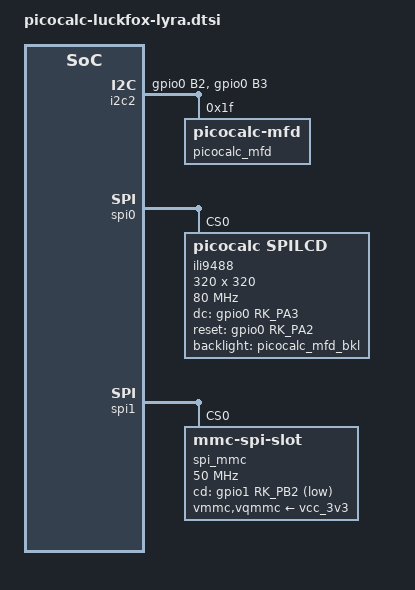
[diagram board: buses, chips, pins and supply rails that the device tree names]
// SPDX-License-Identifier: (GPL-2.0+ OR MIT)
/*
 * PicoCalc hardware device tree definitions for Luckfox Lyra board
 */

/****** Picocalc i2c Bus ******/
&pinctrl {
    rm_io11 {
        rm_io11_i2c2_sda: rm-io11-i2c2-sda {
            rockchip,pins =
                <0 RK_PB3 35 &pcfg_pull_none>;
        };
    };

    rm_io10 {
        rm_io10_i2c2_scl: rm-io10-i2c2-scl {
            rockchip,pins =
                <0 RK_PB2 34 &pcfg_pull_none>;
        };
    };

    /* M0 audio: GPIO4_B2/B3 (Lyra pins 31/32, RK3506 pins 138/139).
     * Unused until the m0-audio overlay claims them. In the base DTB so
     * ConfigFS apply does not add pinctrl groups at runtime.
     * Hardware PWM is a different pair: GPIO0_B4/B5 (Lyra pins 4/5,
     * RK3506 pins 12/13, RM_IO12/13) via SoC groups rm_io12_pwm0_ch0 /
     * rm_io13_pwm0_ch1.
     */
    picocalc_snd {
        snd_pins: snd-pins {
            rockchip,pins =
                <4 RK_PB2 RK_FUNC_GPIO &pcfg_pull_none>,
                <4 RK_PB3 RK_FUNC_GPIO &pcfg_pull_none>;
        };
    };
};

&i2c2{
	status = "okay";
	pinctrl-names = "default";
	pinctrl-0 = <&rm_io10_i2c2_scl &rm_io11_i2c2_sda>;
	max-frequency = <400000>;

	/****** Picocalc STM32 Firmware ******/
	picocalc_mfd: picocalc-mfd@1f {
		status = "okay";
		compatible = "picocalc-mfd","picocalc-kbd";
		reg = <0x1F>;
		poweroff = <0x0E>;

		/****** Keyboard Subsystem ******/
		picocalc_mfd_kbd: picocalc-mfd-kbd@04 {
			compatible = "picocalc-mfd-kbd";
			reg = <0x04>;
			fifo = <0x09>;
		};

		/****** Battery Subsystem ******/
		picocalc_mfd_bms: picocalc-mfd-bms@0b {
			compatible = "picocalc-mfd-bms";
			reg = <0x0B>;
		};

		/****** Display Backlight ******/
		picocalc_mfd_bkl: picocalc-mfd-bkl@05 {
			compatible = "picocalc-mfd-bkl";
			reg = <0x05>;
			default-brightness = <128>;
			max-brightness = <255>;
		};

		/****** Keyboard Backlight ******/
		picocalc_mfd_led: picocalc-mfd-led@0a {
			compatible = "picocalc-mfd-led";
			linux,default-trigger = "backlight";
			reg = <0x0A>;
			label = "picocalc_mfd_led:kbd_backlight";
		};
	};
};

/****** Picocalc Display ******/
&pinctrl {
	ili9488 {
		ili9488_pins: ili9488-pins {
			rockchip,pins =
				<0 RK_PA3 RK_FUNC_GPIO &pcfg_pull_none>,
				<0 RK_PA2 RK_FUNC_GPIO &pcfg_pull_none>;
		};
	};
};

&spi0 {
	status = "okay";
	pinctrl-names = "default";
	pinctrl-0 = <&rm_io4_spi0_csn0 &rm_io5_spi0_miso &rm_io6_spi0_mosi &rm_io7_spi0_clk>;
	num-cs = <1>;
	/* DMA bursts of 4 words instead of a quarter of the FIFO (16): a burst
	 * holds the low-speed peripheral bus, and the M0's audio pin writes
	 * wait behind it. 4 keeps the display at 48 frames a second and lets
	 * the M0's corrected audio loop keep pace (docs/m0-audio.md). Needs a
	 * kernel patch (docs/spi-rockchip-tx-burst.patch); ignored without. */
	rockchip,tx-dma-burst = <4>;

	ili9488: ili9488@0 {
		status = "okay";
		compatible = "picocalc,spilcd", "ilitek,ili9488";
		spi-max-frequency = <80000000>;
		reg = <0>;
		pinctrl-names = "default";
		pinctrl-0 = <&ili9488_pins>;
		fps = <30>;
		width = <320>;
		height = <320>;

		backlight = <&picocalc_mfd_bkl>;
		/***** DRM driver Parameter names ******/
		dc-gpios = <&gpio0 RK_PA3 GPIO_ACTIVE_HIGH>;
        reset-gpios = <&gpio0 RK_PA2 GPIO_ACTIVE_HIGH>;
		rotate = <0>;
        buswidth = <8>;
	};
};

/****** Picocalc SD Card Reader ******/
&spi1 {
	status = "okay";
	pinctrl-names = "default";
	pinctrl-0 = <&rm_io29_spi1_clk &rm_io28_spi1_mosi &rm_io31_spi1_miso &rm_io30_spi1_csn0>;

	spi_mmc: mmc@0 {
		compatible = "mmc-spi-slot";
		reg = <0>;  // Chip Select 0
		spi-max-frequency = <50000000>;
		cd-gpios = <&gpio1 RK_PB2 GPIO_ACTIVE_LOW>;
		disable-wp;
		no-sdio;
		voltage-ranges = <3300 3300>;
		vmmc-supply = <&vcc_3v3>;
		vqmmc-supply = <&vcc_3v3>;
		no-1-8-v;
	};
};

/*
 * PicoCalc audio (M0 delta-sigma or PWM) is configured via runtime device tree
 * overlays. Apply one of:
 *   - m0-audio overlay: picocalc,snd-m0 (default firmware path)
 *   - pwm-audio overlay: fsl,picocalc-snd-pwm (hardware mod)
 * See luckfox-lyra/overlays/m0-audio-overlay.dts and pwm-audio-overlay.dts.
 *
 * The M0 ring lives in system SRAM and is described by the m0-audio overlay
 * itself; nothing is reserved for it here.
 */
